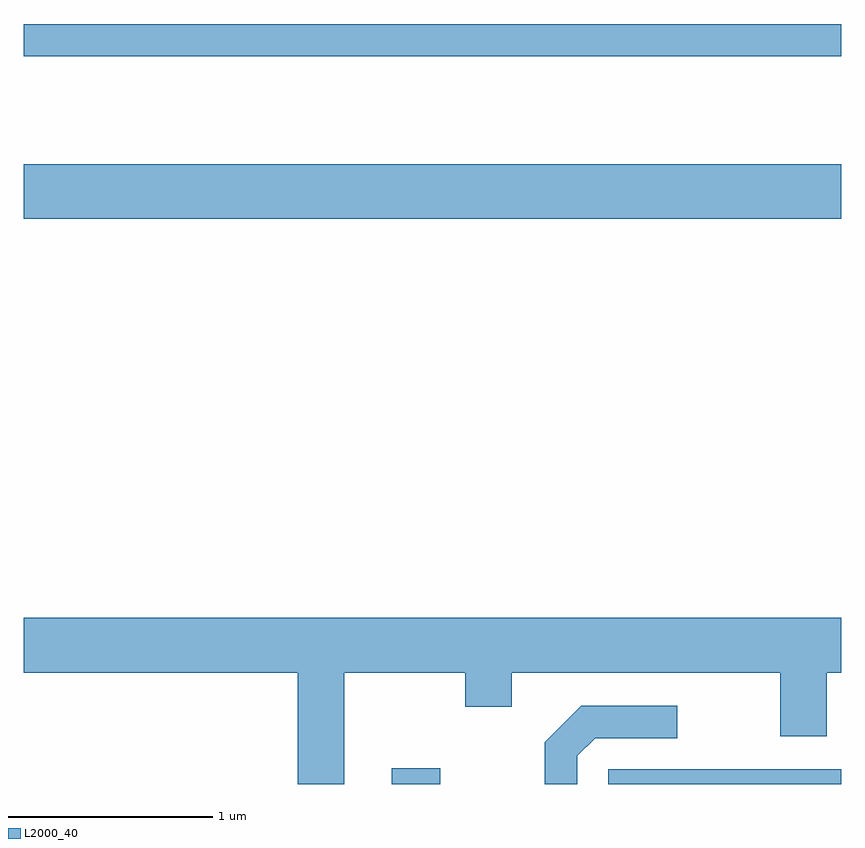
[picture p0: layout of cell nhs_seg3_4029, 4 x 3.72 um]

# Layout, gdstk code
import gdstk
lib = gdstk.Library(unit=1e-6, precision=1e-09)
def R(c, l, rs):  # rectangles x0, y0, x1, y1
    for r in rs: c.add(gdstk.rectangle(r[:2], r[2:], *l))
def P(c, l, *ps):  # polygons
    for p in ps: c.add(gdstk.Polygon(p, *l))
L2000_40 = (2000, 40)

nhs_seg3_4029 = lib.new_cell('nhs_seg3_4029')
R(nhs_seg3_4029, L2000_40, [(305.411,1149.892,305.648,1149.969), (306.471,1149.892,307.611,1149.964), (303.611,1152.656,307.611,1152.924), (303.611,1153.451,307.611,1153.609)])
P(nhs_seg3_4029, L2000_40, [(305.179,1150.436),(305.771,1150.436),(305.771,1150.271),(305.999,1150.271),(305.999,1150.436),(307.311,1150.436),(307.311,1150.126),(307.539,1150.126),(307.539,1150.436),(307.611,1150.436),(307.611,1150.704),(303.611,1150.704),(303.611,1150.436),(304.951,1150.436),(304.951,1149.892),(305.179,1149.892)],
  [(306.319,1150.029),(306.407,1150.116),(306.808,1150.116),(306.808,1150.274),(306.339,1150.274),(306.161,1150.097),(306.161,1149.892),(306.319,1149.892)])

lib.write_gds('nhs_seg3_4029.gds')
